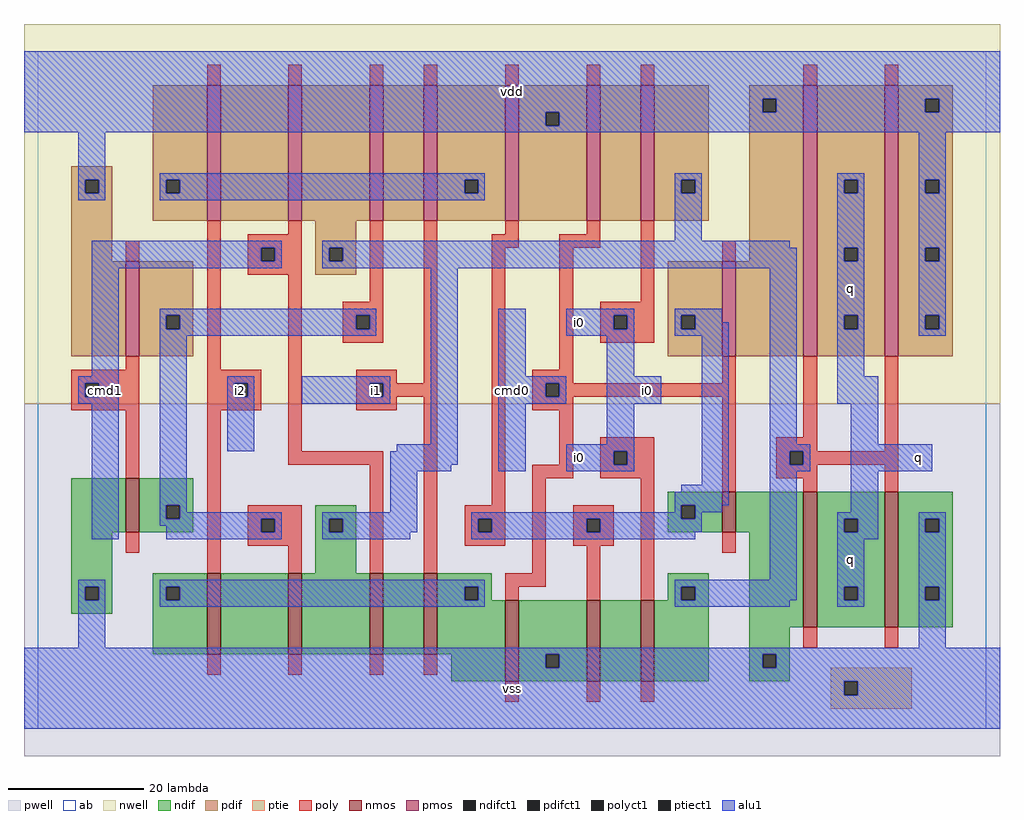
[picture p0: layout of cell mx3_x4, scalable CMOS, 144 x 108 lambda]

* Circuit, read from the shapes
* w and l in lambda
.subckt mx3_x4 cmd0 cmd1 i0 i1 i2 q vdd vss
M1 n1 cmd1 vss vss nfet w=8 l=2
M2 n2 i2 n3 vss nfet w=12 l=2
M3 n4 n1 n2 vss nfet w=12 l=2
M4 n5 cmd1 n4 vss nfet w=12 l=2
M5 n3 i1 n5 vss nfet w=12 l=2
M6 vss cmd0 n3 vss nfet w=12 l=2
M7 n6 n7 vss vss nfet w=12 l=2
M8 n4 i0 n6 vss nfet w=12 l=2
M9 vss cmd0 n7 vss nfet w=6 l=2
M10 q n4 vss vss nfet w=20 l=2 m=2
M11 n1 cmd1 vdd n8 pfet w=14 l=2
M12 n9 i2 n10 n8 pfet w=20 l=2
M13 n4 cmd1 n9 n8 pfet w=20 l=2
M14 n11 n1 n4 n8 pfet w=20 l=2
M15 n10 i1 n11 n8 pfet w=20 l=2
M16 vdd n7 n10 n8 pfet w=20 l=2
M17 n12 cmd0 vdd n8 pfet w=20 l=2
M18 n4 i0 n12 n8 pfet w=20 l=2
M19 vdd cmd0 n7 n8 pfet w=14 l=2
M20 q n4 vdd n8 pfet w=40 l=2 m=2
.ends

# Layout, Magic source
magic
tech scmos
<< ab >>
rect 0 0 140 100
<< nwell >>
rect -2 48 142 104
<< pwell >>
rect -2 -4 142 48
<< poly >>
rect 25 95 27 98
rect 37 95 39 98
rect 49 95 51 98
rect 57 95 59 98
rect 69 95 71 98
rect 81 95 83 98
rect 89 95 91 98
rect 113 95 115 98
rect 125 95 127 98
rect 13 69 15 72
rect 13 53 15 55
rect 5 51 15 53
rect 5 49 7 51
rect 9 49 15 51
rect 5 47 15 49
rect 13 37 15 47
rect 25 53 27 75
rect 37 73 39 75
rect 31 71 39 73
rect 31 69 33 71
rect 35 69 39 71
rect 31 67 39 69
rect 25 51 33 53
rect 25 49 29 51
rect 31 49 33 51
rect 25 47 33 49
rect 13 26 15 29
rect 25 23 27 47
rect 37 41 39 67
rect 49 63 51 75
rect 45 61 51 63
rect 45 59 47 61
rect 49 59 51 61
rect 45 57 51 59
rect 47 51 53 53
rect 57 51 59 75
rect 69 73 71 75
rect 81 73 83 75
rect 47 49 49 51
rect 51 49 59 51
rect 47 47 53 49
rect 37 39 51 41
rect 31 31 39 33
rect 31 29 33 31
rect 35 29 39 31
rect 31 27 39 29
rect 37 23 39 27
rect 49 23 51 39
rect 57 23 59 49
rect 67 71 71 73
rect 77 71 83 73
rect 67 33 69 71
rect 77 53 79 71
rect 89 63 91 75
rect 101 69 103 72
rect 83 61 91 63
rect 83 59 85 61
rect 87 59 91 61
rect 83 57 91 59
rect 73 51 79 53
rect 101 51 103 55
rect 73 49 75 51
rect 77 49 103 51
rect 73 47 79 49
rect 77 39 79 47
rect 63 31 69 33
rect 63 29 65 31
rect 67 29 69 31
rect 63 27 69 29
rect 73 37 79 39
rect 83 41 91 43
rect 83 39 85 41
rect 87 39 91 41
rect 83 37 91 39
rect 73 23 75 37
rect 79 31 85 33
rect 79 29 81 31
rect 83 29 85 31
rect 79 27 85 29
rect 69 21 75 23
rect 69 19 71 21
rect 81 19 83 27
rect 89 19 91 37
rect 101 35 103 49
rect 113 43 115 55
rect 109 41 115 43
rect 125 41 127 55
rect 109 39 111 41
rect 113 39 127 41
rect 109 37 115 39
rect 113 35 115 37
rect 125 35 127 39
rect 101 26 103 29
rect 25 8 27 11
rect 37 8 39 11
rect 49 8 51 11
rect 57 8 59 11
rect 113 12 115 15
rect 125 12 127 15
rect 69 4 71 7
rect 81 4 83 7
rect 89 4 91 7
<< ndif >>
rect 5 29 13 37
rect 15 33 23 37
rect 15 31 19 33
rect 21 31 23 33
rect 15 29 23 31
rect 5 21 11 29
rect 41 31 47 33
rect 41 29 43 31
rect 45 29 47 31
rect 41 23 47 29
rect 5 19 7 21
rect 9 19 11 21
rect 5 17 11 19
rect 17 21 25 23
rect 17 19 19 21
rect 21 19 25 21
rect 17 11 25 19
rect 27 11 37 23
rect 39 11 49 23
rect 51 11 57 23
rect 59 21 67 23
rect 59 19 63 21
rect 65 19 67 21
rect 93 33 101 35
rect 93 31 95 33
rect 97 31 101 33
rect 93 29 101 31
rect 103 29 113 35
rect 93 21 99 23
rect 93 19 95 21
rect 97 19 99 21
rect 59 11 69 19
rect 61 7 69 11
rect 71 11 81 19
rect 71 9 75 11
rect 77 9 81 11
rect 71 7 81 9
rect 83 7 89 19
rect 91 7 99 19
rect 105 15 113 29
rect 115 31 125 35
rect 115 29 119 31
rect 121 29 125 31
rect 115 21 125 29
rect 115 19 119 21
rect 121 19 125 21
rect 115 15 125 19
rect 127 31 135 35
rect 127 29 131 31
rect 133 29 135 31
rect 127 21 135 29
rect 127 19 131 21
rect 133 19 135 21
rect 127 15 135 19
rect 105 11 111 15
rect 105 9 107 11
rect 109 9 111 11
rect 105 7 111 9
<< pdif >>
rect 5 81 11 83
rect 5 79 7 81
rect 9 79 11 81
rect 5 69 11 79
rect 17 81 25 95
rect 17 79 19 81
rect 21 79 25 81
rect 17 75 25 79
rect 27 75 37 95
rect 39 75 49 95
rect 51 75 57 95
rect 59 81 69 95
rect 59 79 63 81
rect 65 79 69 81
rect 59 75 69 79
rect 71 91 81 95
rect 71 89 75 91
rect 77 89 81 91
rect 71 75 81 89
rect 83 75 89 95
rect 91 81 99 95
rect 91 79 95 81
rect 97 79 99 81
rect 91 75 99 79
rect 105 93 113 95
rect 105 91 107 93
rect 109 91 113 93
rect 5 55 13 69
rect 15 61 23 69
rect 15 59 19 61
rect 21 59 23 61
rect 15 55 23 59
rect 41 71 47 75
rect 41 69 43 71
rect 45 69 47 71
rect 41 67 47 69
rect 105 69 113 91
rect 93 61 101 69
rect 93 59 95 61
rect 97 59 101 61
rect 93 55 101 59
rect 103 55 113 69
rect 115 81 125 95
rect 115 79 119 81
rect 121 79 125 81
rect 115 71 125 79
rect 115 69 119 71
rect 121 69 125 71
rect 115 61 125 69
rect 115 59 119 61
rect 121 59 125 61
rect 115 55 125 59
rect 127 93 135 95
rect 127 91 131 93
rect 133 91 135 93
rect 127 81 135 91
rect 127 79 131 81
rect 133 79 135 81
rect 127 71 135 79
rect 127 69 131 71
rect 133 69 135 71
rect 127 61 135 69
rect 127 59 131 61
rect 133 59 135 61
rect 127 55 135 59
<< alu1 >>
rect -2 93 142 100
rect -2 91 107 93
rect 109 91 131 93
rect 133 91 142 93
rect -2 89 75 91
rect 77 89 142 91
rect -2 88 142 89
rect 6 81 10 88
rect 6 79 7 81
rect 9 79 10 81
rect 6 78 10 79
rect 18 81 66 82
rect 18 79 19 81
rect 21 79 63 81
rect 65 79 66 81
rect 18 78 66 79
rect 94 81 98 82
rect 94 79 95 81
rect 97 79 98 81
rect 94 72 98 79
rect 118 81 122 82
rect 118 79 119 81
rect 121 79 122 81
rect 8 71 36 72
rect 8 69 33 71
rect 35 69 36 71
rect 8 68 36 69
rect 42 71 111 72
rect 118 71 122 79
rect 42 69 43 71
rect 45 69 112 71
rect 42 68 112 69
rect 8 52 12 68
rect 6 51 12 52
rect 6 49 7 51
rect 9 49 12 51
rect 6 48 12 49
rect 8 28 12 48
rect 18 61 50 62
rect 18 59 19 61
rect 21 59 47 61
rect 49 59 50 61
rect 18 58 50 59
rect 18 33 22 58
rect 28 51 32 52
rect 28 49 29 51
rect 31 49 32 51
rect 28 41 32 49
rect 39 51 52 52
rect 39 49 49 51
rect 51 49 52 51
rect 39 48 52 49
rect 58 42 62 68
rect 53 41 62 42
rect 18 31 19 33
rect 21 32 22 33
rect 52 39 62 41
rect 68 52 72 62
rect 78 61 88 62
rect 78 59 85 61
rect 87 59 88 61
rect 78 58 88 59
rect 94 61 101 62
rect 94 59 95 61
rect 97 60 101 61
rect 97 59 102 60
rect 94 58 102 59
rect 84 52 88 58
rect 68 51 78 52
rect 68 49 75 51
rect 77 49 78 51
rect 68 48 78 49
rect 84 48 92 52
rect 52 38 61 39
rect 68 38 72 48
rect 84 42 88 48
rect 78 41 88 42
rect 78 39 85 41
rect 87 39 88 41
rect 78 38 88 39
rect 52 32 56 38
rect 98 36 102 58
rect 95 35 102 36
rect 94 33 102 35
rect 108 42 112 68
rect 118 69 119 71
rect 121 69 122 71
rect 118 61 122 69
rect 118 59 119 61
rect 121 59 122 61
rect 118 52 122 59
rect 130 81 134 88
rect 130 79 131 81
rect 133 79 134 81
rect 130 71 134 79
rect 130 69 131 71
rect 133 69 134 71
rect 130 61 134 69
rect 130 59 131 61
rect 133 59 134 61
rect 130 58 134 59
rect 118 48 124 52
rect 120 42 124 48
rect 108 41 114 42
rect 108 39 111 41
rect 113 39 114 41
rect 108 38 114 39
rect 120 38 132 42
rect 94 32 95 33
rect 21 31 36 32
rect 18 30 33 31
rect 19 29 33 30
rect 35 29 36 31
rect 19 28 36 29
rect 42 31 56 32
rect 42 29 43 31
rect 45 29 56 31
rect 64 31 95 32
rect 97 32 101 33
rect 97 31 98 32
rect 64 29 65 31
rect 67 29 81 31
rect 83 29 98 31
rect 42 28 55 29
rect 64 28 97 29
rect 108 22 112 38
rect 120 32 124 38
rect 6 21 10 22
rect 6 19 7 21
rect 9 19 10 21
rect 6 12 10 19
rect 18 21 66 22
rect 18 19 19 21
rect 21 19 63 21
rect 65 19 66 21
rect 18 18 66 19
rect 94 21 112 22
rect 94 19 95 21
rect 97 19 112 21
rect 118 31 124 32
rect 118 29 119 31
rect 121 29 124 31
rect 118 28 124 29
rect 130 31 134 32
rect 130 29 131 31
rect 133 29 134 31
rect 118 21 122 28
rect 118 19 119 21
rect 121 19 122 21
rect 94 18 111 19
rect 118 18 122 19
rect 130 21 134 29
rect 130 19 131 21
rect 133 19 134 21
rect 130 12 134 19
rect -2 11 142 12
rect -2 9 75 11
rect 77 9 107 11
rect 109 9 142 11
rect -2 7 142 9
rect -2 5 119 7
rect 121 5 142 7
rect -2 0 142 5
<< ptie >>
rect 117 7 129 9
rect 117 5 119 7
rect 121 5 129 7
rect 117 3 129 5
<< nmos >>
rect 13 29 15 37
rect 25 11 27 23
rect 37 11 39 23
rect 49 11 51 23
rect 57 11 59 23
rect 101 29 103 35
rect 69 7 71 19
rect 81 7 83 19
rect 89 7 91 19
rect 113 15 115 35
rect 125 15 127 35
<< pmos >>
rect 25 75 27 95
rect 37 75 39 95
rect 49 75 51 95
rect 57 75 59 95
rect 69 75 71 95
rect 81 75 83 95
rect 89 75 91 95
rect 13 55 15 69
rect 101 55 103 69
rect 113 55 115 95
rect 125 55 127 95
<< polyct1 >>
rect 7 49 9 51
rect 33 69 35 71
rect 29 49 31 51
rect 47 59 49 61
rect 49 49 51 51
rect 33 29 35 31
rect 85 59 87 61
rect 75 49 77 51
rect 65 29 67 31
rect 85 39 87 41
rect 81 29 83 31
rect 111 39 113 41
<< ndifct1 >>
rect 19 31 21 33
rect 43 29 45 31
rect 7 19 9 21
rect 19 19 21 21
rect 63 19 65 21
rect 95 31 97 33
rect 95 19 97 21
rect 75 9 77 11
rect 119 29 121 31
rect 119 19 121 21
rect 131 29 133 31
rect 131 19 133 21
rect 107 9 109 11
<< ptiect1 >>
rect 119 5 121 7
<< pdifct1 >>
rect 7 79 9 81
rect 19 79 21 81
rect 63 79 65 81
rect 75 89 77 91
rect 95 79 97 81
rect 107 91 109 93
rect 19 59 21 61
rect 43 69 45 71
rect 95 59 97 61
rect 119 79 121 81
rect 119 69 121 71
rect 119 59 121 61
rect 131 91 133 93
rect 131 79 133 81
rect 131 69 133 71
rect 131 59 133 61
<< labels >>
rlabel alu1 10 50 10 50 6 cmd1
rlabel polyct1 30 50 30 50 6 i2
rlabel polyct1 50 50 50 50 6 i1
rlabel alu1 70 6 70 6 6 vss
rlabel alu1 80 40 80 40 6 i0
rlabel alu1 70 50 70 50 6 cmd0
rlabel alu1 80 60 80 60 6 i0
rlabel alu1 70 94 70 94 6 vdd
rlabel alu1 90 50 90 50 6 i0
rlabel alu1 120 25 120 25 6 q
rlabel alu1 130 40 130 40 6 q
rlabel alu1 120 65 120 65 6 q
<< end >>
